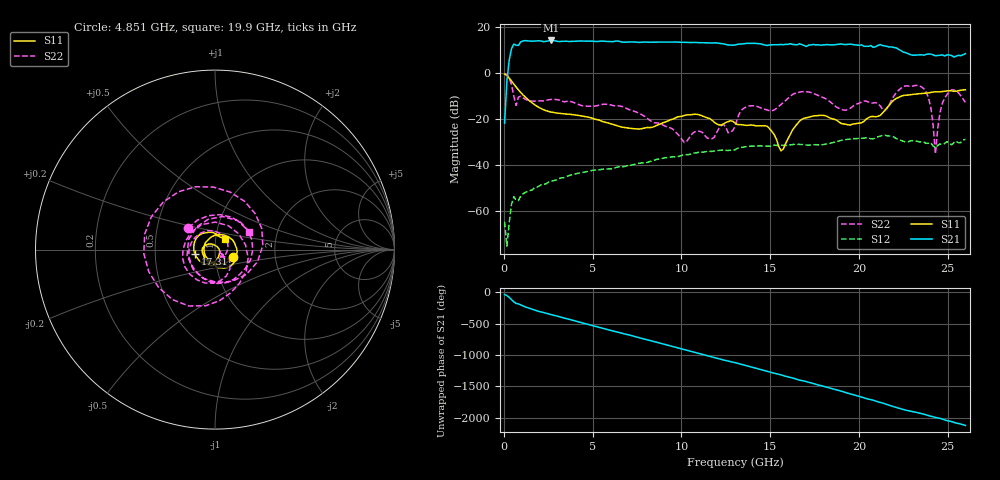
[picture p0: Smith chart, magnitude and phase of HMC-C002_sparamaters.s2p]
!Hittite Microwave Corporation
!20 Alpha Road
!Chelmsford, MA 01824
!Tel: 978-250-3343
!Fax: 978-250-3373
!Device: HMC-C002, 2-20 GHz, Wideband LNA Module
!Misc: Vdd = +12V, Idd = 60 mA, Room Temperature
# GHZ S DB R 50
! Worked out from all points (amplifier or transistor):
!   201 points, 50 MHz to 26 GHz, reference 50 ohm
!   highest |S21| = 14.3 dB at 2.645 GHz (marker M1)
!   |S21| within 3 dB of that: 476 MHz to 20.81 GHz (20.33 GHz wide, 191 % of centre) (the widest 1 of 2)
!   unconditionally stable (mu >= 1): start of sweep to end of sweep
!   at 4.332 GHz: K = 13.68, MAG = 14.3 dB, |S12| = -43.3 dB
!   at 13.03 GHz: K = 5.56, MAG = 12.4 dB, |S12| = -33.3 dB
!   at 26 GHz: K = 3.83, MAG = 9.9 dB, |S12| = -28.7 dB
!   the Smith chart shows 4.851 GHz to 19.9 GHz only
!   S11 on the Smith chart (normalised r, x): 4.851 GHz: 1.22, -0.10; 17.31 GHz: 0.80, -0.04; 19.9 GHz: 1.11, +0.13
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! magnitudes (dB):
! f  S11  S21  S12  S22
! 50 MHz  -0.3  -21.7  -64.6  -0.1
! 179.7 MHz  -1.0  -3.2  -75.3  -0.6
! 569 MHz  -4.7  12.7  -53.7  -10.0
! 2.645 GHz  -16.8  14.3  -47.1  -11.4
! 4.461 GHz  -18.7  14.0  -43.1  -14.2
! 4.851 GHz  -19.2  14.0  -42.5  -14.4
! 8.743 GHz  -22.3  13.6  -37.3  -21.7
! 10.17 GHz  -18.4  13.5  -35.5  -30.1
! 13.03 GHz  -21.6  12.3  -33.3  -23.2
! 13.67 GHz  -22.7  13.0  -32.0  -14.5
! 14.84 GHz  -23.1  12.1  -31.7  -16.0
! 15.62 GHz  -33.8  12.6  -31.3  -13.5
! 17.31 GHz  -18.8  12.4  -31.2  -8.4
! 17.44 GHz  -18.6  12.6  -31.1  -8.7
! 19.9 GHz  -21.8  12.3  -28.4  -13.3
! 21.72 GHz  -13.8  11.5  -27.3  -13.5
! 23.66 GHz  -8.7  7.9  -30.0  -6.8
! 24.05 GHz  -8.3  8.4  -30.3  -14.9
! 24.31 GHz  -8.0  7.6  -32.5  -35.1
! 24.57 GHz  -8.1  7.9  -30.8  -17.0
! 24.83 GHz  -7.8  7.5  -30.6  -10.9
! 26 GHz  -7.1  8.6  -28.7  -12.7
